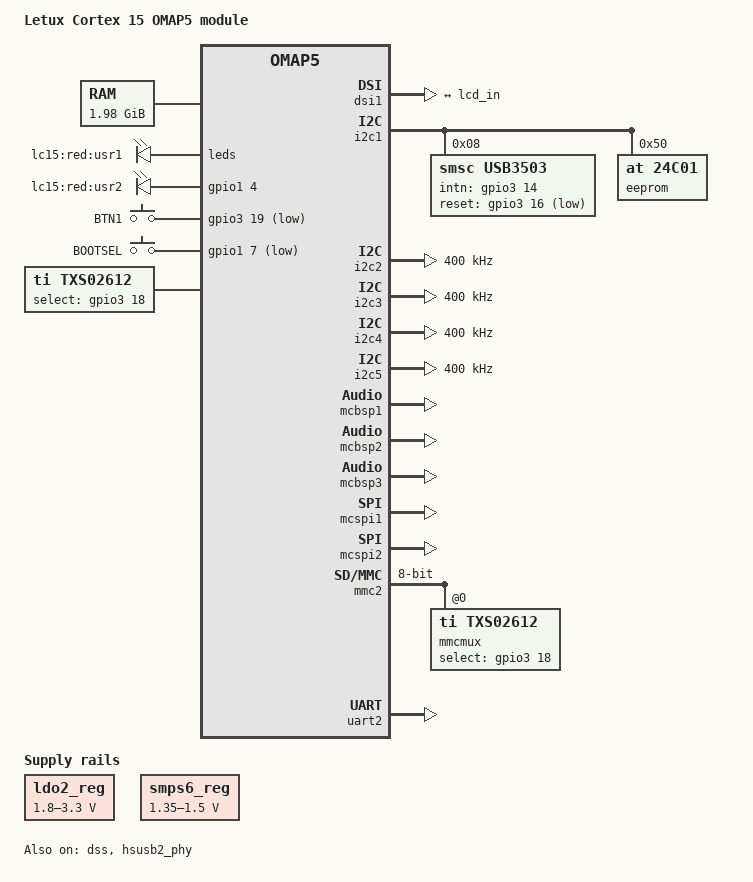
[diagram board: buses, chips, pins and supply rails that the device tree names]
// SPDX-License-Identifier: GPL-2.0-or-later
/*
 * Copyright (C) 2016-19 Golden Delicous Computers - http://www.goldelico.com/
 *
 * This program is free software; you can redistribute it and/or modify
 * it under the terms of the GNU General Public License version 2 as
 * published by the Free Software Foundation.
 */

/dts-v1/;

#include "omap5-board-common.dtsi"

/ {
	model = "Letux Cortex 15 OMAP5 module";
	compatible = "", "goldelico,lc15", "ti,omap5-uevm", "ti,omap5";

	aliases {
		display0 = &lcd;
		display1 = &hdmi0;
	};

	memory@80000000 {
		device_type = "memory";
		/* some boards have 4 GB but that is overwritten by U-Boot */
		reg = <0 0x80000000 0 0x7f000000>; /* 2032 MB */
	};

	chosen {
		stdout-path = &uart3;
	};

	leds {
		pinctrl-names = "default";
		pinctrl-0 = <&lc15_wkup_pins>;

		led@1 {
			label = "lc15:red:usr1";
		};

		led@2 {
			label = "lc15:red:usr2";
			gpios = <&gpio1 4 GPIO_ACTIVE_HIGH>; /* sysboot4 = gpio1_wk4: second LED */
			linux,default-trigger = "mmc0";
			default-state = "off";
		};
	};

	user-buttons {
		compatible = "gpio-keys";

		pinctrl-names = "default";
		pinctrl-0 = <&lc15_button_pins>;

		#address-cells = <7>;
		#size-cells = <0>;

		BTN1 {
			label = "BTN1";
			linux,code = <169>;
			gpios = <&gpio3 19 GPIO_ACTIVE_LOW>;	/* gpio3_83 is User Button */
			gpio-key,wakeup;
			autorepeat;
			debounce_interval = <50>;
		};

		BOOTSEL {
			label = "BOOTSEL";
			linux,code = <0x161>;
			gpios = <&gpio1 7 GPIO_ACTIVE_LOW>;	/* gpio1_wk7 is Boot-Select Button */
			gpio-key,wakeup;
			autorepeat;
			debounce_interval = <50>;
		};
	};
};

&cpu0 {
	operating-points = <
		/* kHz    uV */
		250000 750000
		500000 850000
		750000 950000
		1000000 1050000
		1250000 1100000
		1500000 1250000
#if 0	/* potentially overclocking */
		1700000 1250000
#endif
	>;
};

/* LCD panel - MIPI */

&dsi1 {
	status = "ok";

	vdd-supply = <&ldo4_reg>;

	port {
		dsi1_out_ep: endpoint {
			remote-endpoint = <&lcd_in>;
			lanes = <
				1       /* lane0x = clk - */
				0       /* lane0y = clk + */
				3       /* lane1x = data1 - */
				2       /* lane1y = data1 + */
				5       /* lane2x = data2 - */
				4       /* lane2y = data2 + */
				7       /* lane3x = data3 - */
				6       /* lane3y = data3 + */
				9       /* lane4x = data4 - */
				8       /* lane4y = data4 + */
			>;
		};
	};

	lcd: lcd@0 {
		/* default to be overwritten by specific panel in derived board file */

		label = "lcd";

		reg = <0>;

		pinctrl-names = "default";
		pinctrl-0 = <&mipi_display_pins>;

		port {
			lcd_in: endpoint {
				remote-endpoint = <&dsi1_out_ep>;
			};
		};
	};
};

&dss {
	status = "ok";

	pinctrl-names = "default";
	pinctrl-0 = <&mipi_dsi_a>;
};

&hdmi {
	vdda-supply = <&ldo4_reg>;
};

&hsusb2_phy {
	status = "okay";
	reset-gpios = <0>;	/* don't apply reset! */
};

&hsusb3_phy {
	status = "disabled";
};

&i2c1 {
	usb3503@8 {
		/* should be compatible = "smsc,usb3503a" but then driver is not loaded */
		compatible = "smsc,usb3503";
		reg = <0x08>;
		intn-gpios = <&gpio3 14 GPIO_ACTIVE_HIGH>;	// gpio3_78 interrupt
		reset-gpios = <&gpio3 16 GPIO_ACTIVE_LOW>;	// gpio3_80 reset
		initial-mode = <1>;
	};

	eeprom@50 {
		compatible = "at,24c01";
		reg = <0x50>;
	};
};

&i2c2 {
	clock-frequency = <400000>;

	pinctrl-names = "default";
	pinctrl-0 = <&i2c2_pins>;
};

&i2c3 {
	clock-frequency = <400000>;

	pinctrl-names = "default";
	pinctrl-0 = <&i2c3_pins>;
};

&i2c4 {
	clock-frequency = <400000>;

	pinctrl-names = "default";
	pinctrl-0 = <&i2c4_pins>;
};

&i2c5 {
	pinctrl-names = "default";
	pinctrl-0 = <&i2c5_pins>;

	clock-frequency = <400000>;
};

&ldo2_reg {
	/* used as vmmc4 */
	regulator-name = "ldo2";
	regulator-min-microvolt = <1800000>;
	regulator-max-microvolt = <3300000>;
	status = "okay";
};

&mcbsp1 {
	#sound-dai-cells = <0>;
	status ="okay";
};

&mcbsp2 {
	#sound-dai-cells = <0>;
	status ="okay";
};

&mcbsp3 {
	pinctrl-names = "default";
	pinctrl-0 = <&mcbsp3_pins>;
	#sound-dai-cells = <0>;
	status ="okay";
};

&mcspi1 {
	status = "okay";
};

&mcspi2 {
	status = "okay";
};

&mcspi3 { /* pins used for uart2 */
	status = "disabled";
};

&mmc2 { /* eMMC / uSD-card */
	bus-width = <8>;
	/delete-property/ ti,non-removable;
	broken-cd;	/* must poll for cards */

	#address-cells = <1>;
	#size-cells = <0>;

	mmcmux: txs02612@0 {
		reg = <0>;

		compatible = "ti,txs02612";
		select-gpio = <&gpio3 18 0>;	/* gpio3_82 soft-select */

		#address-cells = <1>;
		#size-cells = <0>;

		eMMC: port@0 {
			reg = <0>;
			compatible = "any,emmc";
			bus-width = <8>;
			ti,non-removable;
		};

		uSD: port@1 {
			reg = <1>;
			bus-width = <4>;
		};
	};
};

/* keep this as long as the txs02612 driver does not exist/work as mmc slave driver */
/ { /* eMMC / uSD-card */
	txs02612 {
		compatible = "ti,txs02612";
		select-gpio = <&gpio3 18 0>;	/* gpio3_82 soft-select */
	};
};

&mmc3 { /* WiFi-SDIO */
	/* has been predefined for a wl1271 in ompa5-common.dtsi */
};

&mmc4 { /* second (u)SD slot (SDIO capable) */
	status = "disabled";	/* because we are still using ctl/cmd pins for UART3 FTDI interface */
	vmmc-supply = <&ldo2_reg>;
	pinctrl-names = "default";
	pinctrl-0 = <&mmc4_pins>;
	bus-width = <4>;
	cd-gpios = <&gpio3 13 GPIO_ACTIVE_LOW>;	/* gpio3_77 */
	wp-gpios = <&gpio3 15 GPIO_ACTIVE_HIGH>;	/* gpio3_79 */
};

&omap5_pmx_core {

	/* i2c1_pins inherited */

	i2c2_pins: pinmux_i2c2_pins {
		pinctrl-single,pins = <
			OMAP5_IOPAD(0x1b8, PIN_INPUT_PULLUP | MUX_MODE0)		/* i2c2_scl */
			OMAP5_IOPAD(0x1ba, PIN_INPUT_PULLUP | MUX_MODE0)		/* i2c2_sda */
		>;
	};

	i2c3_pins: pinmux_i2c3_pins {
		pinctrl-single,pins = <
			OMAP5_IOPAD(0x17a, PIN_INPUT_PULLUP | MUX_MODE0)		/* i2c3_scl */
			OMAP5_IOPAD(0x17c, PIN_INPUT_PULLUP | MUX_MODE0)		/* i2c3_sda */
		>;
	};

	i2c4_pins: pinmux_i2c4_pins {
		pinctrl-single,pins = <
			OMAP5_IOPAD(0x0f8, PIN_INPUT_PULLUP | MUX_MODE0)		/* i2c4_scl (gpio7_200) */
			OMAP5_IOPAD(0x0fa, PIN_INPUT_PULLUP | MUX_MODE0)		/* i2c4_sda (gpio7_201) */
		>;
	};

	i2c5_pins: pinmux_i2c5_pins {
		pinctrl-single,pins = <
			OMAP5_IOPAD(0x1c6, PIN_INPUT | MUX_MODE0)		/* i2c5_scl */
			OMAP5_IOPAD(0x1c8, PIN_INPUT | MUX_MODE0)		/* i2c5_sda */
		>;
	};

	lc15_button_pins: pinmux_user_button_gpio_pins {
		pinctrl-single,pins = <
			OMAP5_IOPAD(0x0b6, PIN_INPUT_PULLUP | MUX_MODE6)	/* 0x0B4:[31:16] user button gpio3_83 */
		>;
	};

	mcbsp3_pins: pinmux_mcbsp3_pins {
		pinctrl-single,pins = <
			OMAP5_IOPAD(0x188, PIN_INPUT_PULLDOWN | MUX_MODE4)	/* abedmic_din3.abemcbsp3_dr */
			OMAP5_IOPAD(0x186, PIN_OUTPUT_PULLDOWN | MUX_MODE4)	/* abedmic_din2.abemcbsp3_dx */
			OMAP5_IOPAD(0x184, PIN_INPUT | MUX_MODE4)		/* abedmic_din1.abemcbsp3_fsx */
			OMAP5_IOPAD(0x18a, PIN_INPUT | MUX_MODE4)		/* abedmic_clk1.abemcbsp3_clkx */
		>;
	};

	mipi_display_pins: pinmux_display_gpio_pins {
		pinctrl-single,pins = <
			OMAP5_IOPAD(0x0ca, PIN_INPUT_PULLDOWN | MUX_MODE7)	/* 0x0C8:[31:16] gpio6_189 - VSYNC input */
			OMAP5_IOPAD(0x0f6, PIN_INPUT_PULLDOWN | MUX_MODE7)	/* 0x0F4:[31:16] gpio6_190 - choose MUX_MODE0 for PWM_TIMER9 - choose MUX_MODE7 if panel outputs the PWM */
		>;
	};

	mipi_dsi_a: pinmux_dsi_a_pins {
		pinctrl-single,pins = <
			OMAP5_IOPAD(0x0cc, PIN_OUTPUT | MUX_MODE0)	/* 0x0cc:[15:0]  dsiporta_lane0x */
			OMAP5_IOPAD(0x0ce, PIN_OUTPUT | MUX_MODE0)	/* 0x0cc:[31:16] dsiporta_lane0y */
			OMAP5_IOPAD(0x0d0, PIN_OUTPUT | MUX_MODE0)	/* 0x0d0:[15:0]  dsiporta_lane1x */
			OMAP5_IOPAD(0x0d2, PIN_OUTPUT | MUX_MODE0)	/* 0x0d0:[31:16] dsiporta_lane1y */
			OMAP5_IOPAD(0x0d4, PIN_OUTPUT | MUX_MODE0)	/* 0x0d4:[15:0]  dsiporta_lane2x */
			OMAP5_IOPAD(0x0d6, PIN_OUTPUT | MUX_MODE0)	/* 0x0d4:[31:16] dsiporta_lane2y */
			OMAP5_IOPAD(0x0d8, PIN_OUTPUT | MUX_MODE0)	/* 0x0d8:[15:0]  dsiporta_lane3x */
			OMAP5_IOPAD(0x0da, PIN_OUTPUT | MUX_MODE0)	/* 0x0d8:[31:16] dsiporta_lane3y */
			OMAP5_IOPAD(0x0dc, PIN_OUTPUT | MUX_MODE0)	/* 0x0dc:[15:0]  dsiporta_lane4x */
			OMAP5_IOPAD(0x0de, PIN_OUTPUT | MUX_MODE0)	/* 0x0dc:[31:16] dsiporta_lane4y */
		>;
	};

	mmc1_pins: pinmux_mmc1_pins {
		/* provide phandle */
	};

	/* mmc3_pins inherited */

	mmc4_pins: pinmux_sdio4_pins {
		pinctrl-single,pins = <
			OMAP5_IOPAD(0x01da, PIN_INPUT_PULLUP | MUX_MODE4) /* sdio4_clk */
			OMAP5_IOPAD(0x01dc, PIN_INPUT_PULLUP | MUX_MODE4) /* sdio4_cmd */
			OMAP5_IOPAD(0x01b4, PIN_INPUT_PULLUP | MUX_MODE4) /* sdio4_data0 */
			OMAP5_IOPAD(0x01b0, PIN_INPUT_PULLUP | MUX_MODE4) /* sdio4_data1 */
			OMAP5_IOPAD(0x01b2, PIN_INPUT_PULLUP | MUX_MODE4) /* sdio4_data2 */
			OMAP5_IOPAD(0x01b6, PIN_INPUT_PULLUP | MUX_MODE4) /* sdio4_data3 */
			OMAP5_IOPAD(0x00aa, PIN_INPUT_PULLUP | MUX_MODE6) /* gpio3_77 = cd */
			OMAP5_IOPAD(0x00ae, PIN_INPUT_PULLUP | MUX_MODE6) /* gpio3_79 = wp */
		>;
	};

	other_pins: pinmux_other_gpio_pins {
		pinctrl-single,pins = <
			OMAP5_IOPAD(0x08e, PIN_INPUT | MUX_MODE6)	/* 0x08C:[31:16]  gpio2_32 - board revision */
			OMAP5_IOPAD(0x054, PIN_INPUT | MUX_MODE6)	/* 0x054:[15:0]   gpio2_33 - board revision */
			OMAP5_IOPAD(0x0a8, PIN_INPUT | MUX_MODE6)	/* 0x0A4:[15:0]   gpio3_76 - hard(0) / soft(1) select */
			OMAP5_IOPAD(0x0b4, PIN_INPUT | MUX_MODE6)	/* 0x0B4:[15:0]   gpio3_82 - eMMC(0) / uSD(1) soft select */
		>;
	};

	uart2_pins: pinmux_uart2_pins {
		pinctrl-single,pins = <
			OMAP5_IOPAD(0x0b8, PIN_OUTPUT | MUX_MODE0) /* uart2_rts */
			OMAP5_IOPAD(0x0ba, PIN_INPUT_PULLUP | MUX_MODE0) /* uart2_cts */
			OMAP5_IOPAD(0x0bc, PIN_INPUT_PULLUP | MUX_MODE0) /* uart2_rx */
			OMAP5_IOPAD(0x0be, PIN_OUTPUT | MUX_MODE0) /* uart2_tx */
		>;
	};

};

&omap5_pmx_wkup {
	lc15_wkup_pins: pinmux_wkup_pins {
		pinctrl-single,pins = <
			OMAP5_IOPAD(0x078, PIN_OUTPUT | MUX_MODE6)	/* 0x078:[15:0]  gpio1_wkout4 - second LED on CPU board */
			OMAP5_IOPAD(0x046, PIN_INPUT | MUX_MODE6)	/* 0x044:[31:16]  gpio1_wk7 - boot select input */
		>;
	};
};

&palmas_power_button {
	ti,palmas-long-press-seconds = <8>;
	ti,palmas-pwron-debounce-milli-seconds = <15>;
};

&smps6_reg {
	/*
	 * 4GB RAM version may need higher voltage setting - should not harm 2GB
	 * so we do not restrict what U-Boot already did set
	 */
	regulator-min-microvolt = <1350000>;
	regulator-max-microvolt = <1500000>;
};

&sound {
	ti,model = "Letux Cortex 15";

	/* extended Audio routing */
	ti,audio-routing =
		"Headset Stereophone", "HSOL",
		"Headset Stereophone", "HSOR",
		"Ext Spk", "HFL",
		"Ext Spk", "HFR",
		"Line Out", "AUXL",
		"Line Out", "AUXR",
		"AFML", "Line In",
		"AFMR", "Line In",
		"HSMIC", "Headset Mic",
		"Headset Mic", "Headset Mic Bias",
		"MAINMIC", "Main Handset Mic",
		"Main Handset Mic", "Main Mic Bias";
};

&twl6040_pins {
	pinctrl-single,pins = <
		OMAP5_IOPAD(0x0b2, PIN_OUTPUT | MUX_MODE6)	/* 0x0B0:[31:16]  gpio3_81 - redefine twl6040 poweron */
	>;
};

&twl6040 {
	ti,audpwron-gpio = <&gpio3 17 0>;  /* gpio line 3_81 */
};

&uart1 { /* pins are used as mmc1 cd/wp */
	status = "disabled";
};

&uart2 { /* pins shared with mcspi3 */
	status = "okay";
	pinctrl-names = "default";
	pinctrl-0 = <&uart2_pins>;
};

&uart5 {
	status = "disabled";
};

&usbhost_pins {
	pinctrl-single,pins = <
		OMAP5_IOPAD(0x0c4, PIN_INPUT | MUX_MODE0) /* usbb2_hsic_strobe */
		OMAP5_IOPAD(0x0c6, PIN_INPUT | MUX_MODE0) /* usbb2_hsic_data */

		OMAP5_IOPAD(0x1de, PIN_INPUT | MUX_MODE0) /* usbb3_hsic_strobe */
		OMAP5_IOPAD(0x1e0, PIN_INPUT | MUX_MODE0) /* usbb3_hsic_data */

		OMAP5_IOPAD(0x0ac, PIN_INPUT_PULLUP | MUX_MODE6)	/* 0x0AC:[15:0]  gpio3_78 - hub interrupt */
		OMAP5_IOPAD(0x0b0, PIN_OUTPUT | MUX_MODE6)	/* 0x0B0:[15:0]  gpio3_80 - hub nreset */
	>;
};

&wlan_pins {
	status = "disabled";	/* we use these pins differently */
};
